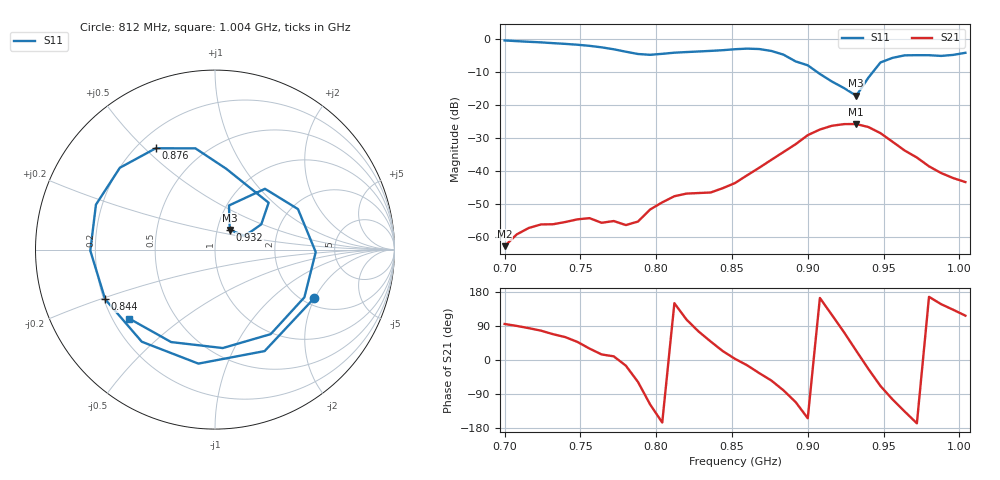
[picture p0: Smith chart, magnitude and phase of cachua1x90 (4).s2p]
# Hz S RI R 50
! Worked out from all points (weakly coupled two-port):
!   39 points, 700 MHz to 1.004 GHz, reference 50 ohm
!   highest |S21| = -25.80 dB at 932 MHz (marker M1); lowest = -62.7 dB at 700 MHz (marker M2)
!   lowest |S11| = -17.2 dB at 932 MHz (marker M3), VSWR 1.32, Z = 57.4 + j12.9 ohm
!   |S11| at or under -10 dB: 906 MHz to 943.1 MHz (37.04 MHz wide, 4.01 % of centre)
!   S12 and S22 are empty: the file has one direction only
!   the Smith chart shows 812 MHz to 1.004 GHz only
!   S11 on the Smith chart (normalised r, x): 812 MHz: 2.28, -1.98; 844 MHz: 0.21, -0.21; 876 MHz: 0.27, +0.54; 932 MHz: 1.15, +0.26; 1.004 GHz: 0.27, -0.33
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7e8  0.7621 0.5546  -6.39e-05 0.000727  0 0  0 0
7.24e8  0.8452 -0.2519  0.000338 0.00152  0 0  0 0
7.4e8  0.4581 -0.7005  0.000835 0.00147  0 0  0 0
7.56e8  -0.1897 -0.7579  0.00167 0.000975  0 0  0 0
7.72e8  -0.6639 -0.1997  0.00173 0.000295  0 0  0 0
7.8e8  -0.5972 0.2211  0.00147 -0.000395  0 0  0 0
7.88e8  -0.2522 0.5312  0.000912 -0.00146  0 0  0 0
7.96e8  0.2285 0.5242  -0.0012 -0.00232  0 0  0 0
8.04e8  0.5615 0.1869  -0.00324 -0.000867  0 0  0 0
8.12e8  0.5536 -0.2695  -0.00359 0.00208  0 0  0 0
8.28e8  -0.0926 -0.6352  0.00119 0.00449  0 0  0 0
8.44e8  -0.612 -0.2764  0.00505 0.00218  0 0  0 0
8.52e8  -0.6948 -0.00588  0.00656 0.000351  0 0  0 0
8.76e8  -0.3301 0.5645  0.00864 -0.012  0 0  0 0
9e8  0.2988 0.2612  -0.0312 -0.0154  0 0  0 0
9.08e8  0.2577 0.1406  -0.0407 0.0119  0 0  0 0
9.32e8  0.0823 0.1101  0.0468 0.0211  0 0  0 0
9.48e8  0.2786 0.3387  0.0135 -0.0348  0 0  0 0
9.56e8  0.4624 0.2256  -0.00682 -0.0268  0 0  0 0
9.64e8  0.5612 -0.0137  -0.0147 -0.0141  0 0  0 0
9.8e8  0.3102 -0.471  -0.0114 0.00271  0 0  0 0
1.004e9  -0.4785 -0.384  -0.00309 0.00605  0 0  0 0
